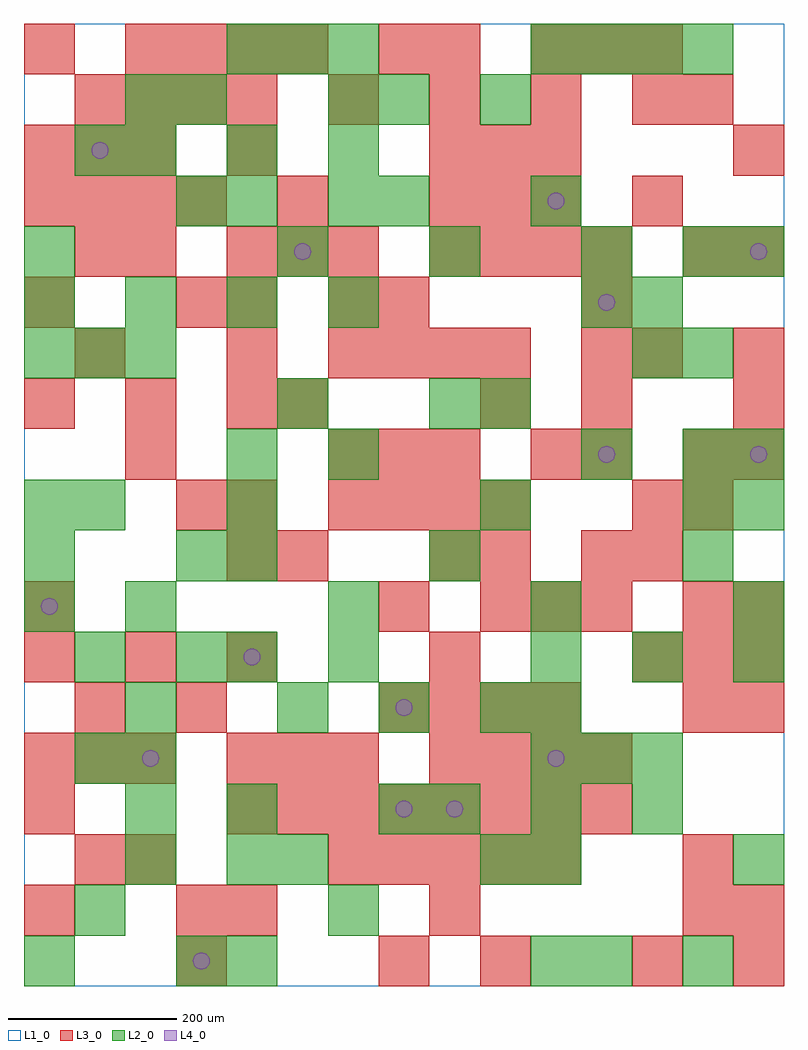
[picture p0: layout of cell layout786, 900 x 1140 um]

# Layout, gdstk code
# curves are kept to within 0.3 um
import gdstk
lib = gdstk.Library(unit=1e-6, precision=1e-09)
def R(c, l, rs):  # rectangles x0, y0, x1, y1
    for r in rs: c.add(gdstk.rectangle(r[:2], r[2:], *l))
def A(c, l, x, y, w, h, nx, ny, dx, dy):  # array of equal rectangles
    R(c, l, [(x+i*dx, y+j*dy, x+i*dx+w, y+j*dy+h) for i in range(nx) for j in range(ny)])
def P(c, l, *ps):  # polygons
    for p in ps: c.add(gdstk.Polygon(p, *l))
L1_0 = (1, 0)
L2_0 = (2, 0)
L3_0 = (3, 0)
L4_0 = (4, 0)

layout786 = lib.new_cell('layout786')
R(layout786, L1_0, [(0,0,900,1140)])
A(layout786, L2_0, 120, 120, 60, 60, 1, 4, 0, 60)
A(layout786, L2_0, 480, 180, 60, 60, 3, 1, 120, 0)
A(layout786, L2_0, 600, 240, 60, 60, 3, 1, 60, 0)
A(layout786, L2_0, 300, 300, 60, 60, 3, 1, 120, 0)
A(layout786, L2_0, 600, 360, 60, 60, 3, 1, 120, 0)
A(layout786, L2_0, 0, 420, 60, 60, 1, 3, 0, 60)
A(layout786, L2_0, 120, 420, 60, 60, 4, 1, 240, 0)
A(layout786, L2_0, 240, 480, 60, 60, 1, 3, 0, 60)
A(layout786, L2_0, 780, 480, 60, 60, 1, 3, 0, 60)
A(layout786, L2_0, 0, 720, 60, 60, 3, 1, 60, 0)
A(layout786, L2_0, 0, 780, 60, 60, 4, 1, 120, 0)
A(layout786, L2_0, 300, 840, 60, 60, 3, 1, 180, 0)
A(layout786, L2_0, 120, 960, 60, 60, 3, 1, 120, 0)
A(layout786, L2_0, 240, 1080, 60, 60, 3, 1, 60, 0)
A(layout786, L2_0, 600, 1080, 60, 60, 4, 1, 60, 0)
R(layout786, L2_0, [(0,0,60,60), (180,0,240,60), (240,0,300,60), (600,0,660,60), (660,0,720,60), (780,0,840,60), (60,60,120,120), (360,60,420,120), (240,120,300,180), (300,120,360,180), (540,120,600,180), (600,120,660,180), (840,120,900,180), (240,180,300,240), (420,180,480,240), (60,240,120,300), (600,300,660,360), (60,360,120,420), (180,360,240,420), (240,360,300,420), (360,360,420,420), (180,480,240,540), (480,480,540,540), (60,540,120,600), (540,540,600,600), (840,540,900,600), (360,600,420,660), (660,600,720,660), (840,600,900,660), (300,660,360,720), (480,660,540,720), (540,660,600,720), (720,720,780,780), (780,720,840,780), (660,780,720,840), (720,780,780,840), (0,840,60,900), (780,840,840,900), (840,840,900,900), (180,900,240,960), (240,900,300,960), (360,900,420,960), (420,900,480,960), (600,900,660,960), (60,960,120,1020), (120,1020,180,1080), (180,1020,240,1080), (360,1020,420,1080), (420,1020,480,1080), (540,1020,600,1080)])
A(layout786, L3_0, 180, 60, 60, 60, 1, 4, 0, 240)
A(layout786, L3_0, 360, 120, 60, 60, 5, 1, 60, 0)
A(layout786, L3_0, 240, 180, 60, 60, 8, 1, 60, 0)
A(layout786, L3_0, 0, 240, 60, 60, 3, 2, 60, 720)
A(layout786, L3_0, 240, 240, 60, 60, 3, 2, 60, 600)
A(layout786, L3_0, 480, 240, 60, 60, 4, 2, 60, 600)
A(layout786, L3_0, 420, 300, 60, 60, 4, 1, 60, 0)
A(layout786, L3_0, 780, 300, 60, 60, 1, 3, 0, 120)
A(layout786, L3_0, 0, 360, 60, 60, 3, 2, 120, 300)
A(layout786, L3_0, 720, 360, 60, 60, 3, 1, 60, 0)
A(layout786, L3_0, 540, 420, 60, 60, 3, 1, 60, 0)
A(layout786, L3_0, 360, 540, 60, 60, 4, 2, 60, 180)
A(layout786, L3_0, 720, 540, 60, 60, 1, 3, 0, 180)
A(layout786, L3_0, 360, 600, 60, 60, 3, 1, 60, 0)
A(layout786, L3_0, 660, 600, 60, 60, 1, 4, 0, 60)
A(layout786, L3_0, 840, 600, 60, 60, 1, 3, 0, 60)
A(layout786, L3_0, 0, 900, 60, 60, 4, 1, 60, 0)
A(layout786, L3_0, 480, 900, 60, 60, 3, 2, 60, 60)
A(layout786, L3_0, 60, 1020, 60, 60, 4, 1, 60, 0)
A(layout786, L3_0, 360, 1020, 60, 60, 4, 1, 120, 0)
A(layout786, L3_0, 120, 1080, 60, 60, 4, 1, 60, 0)
A(layout786, L3_0, 600, 1080, 60, 60, 3, 1, 60, 0)
R(layout786, L3_0, [(180,0,240,60), (420,0,480,60), (540,0,600,60), (720,0,780,60), (840,0,900,60), (0,60,60,120), (240,60,300,120), (480,60,540,120), (780,60,840,120), (840,60,900,120), (60,120,120,180), (120,120,180,180), (780,120,840,180), (0,180,60,240), (60,300,120,360), (840,300,900,360), (480,360,540,420), (0,420,60,480), (420,420,480,480), (840,420,900,480), (240,480,300,540), (300,480,360,540), (480,480,540,540), (540,480,600,540), (660,480,720,540), (720,480,780,540), (240,540,300,600), (120,600,180,660), (600,600,660,660), (780,600,840,660), (300,660,360,720), (540,660,600,720), (60,720,120,780), (240,720,300,780), (0,780,60,840), (240,780,300,840), (360,780,420,840), (420,780,480,840), (60,840,120,900), (120,840,180,900), (780,840,840,900), (840,840,900,900), (300,900,360,960), (240,960,300,1020), (840,960,900,1020), (780,1020,840,1080), (0,1080,60,1140), (420,1080,480,1140), (480,1080,540,1140)])
P(layout786, L4_0, [(40,450),(39.239,453.827),(37.071,457.071),(33.827,459.239),(30,460),(26.173,459.239),(22.929,457.071),(20.761,453.827),(20,450),(20.761,446.173),(22.929,442.929),(26.173,440.761),(30,440),(33.827,440.761),(37.071,442.929),(39.239,446.173)],
  [(100,990),(99.239,993.827),(97.071,997.071),(93.827,999.239),(90,1000),(86.173,999.239),(82.929,997.071),(80.761,993.827),(80,990),(80.761,986.173),(82.929,982.929),(86.173,980.761),(90,980),(93.827,980.761),(97.071,982.929),(99.239,986.173)],
  [(160,270),(159.239,273.827),(157.071,277.071),(153.827,279.239),(150,280),(146.173,279.239),(142.929,277.071),(140.761,273.827),(140,270),(140.761,266.173),(142.929,262.929),(146.173,260.761),(150,260),(153.827,260.761),(157.071,262.929),(159.239,266.173)],
  [(220,30),(219.239,33.827),(217.071,37.071),(213.827,39.239),(210,40),(206.173,39.239),(202.929,37.071),(200.761,33.827),(200,30),(200.761,26.173),(202.929,22.929),(206.173,20.761),(210,20),(213.827,20.761),(217.071,22.929),(219.239,26.173)],
  [(280,390),(279.239,393.827),(277.071,397.071),(273.827,399.239),(270,400),(266.173,399.239),(262.929,397.071),(260.761,393.827),(260,390),(260.761,386.173),(262.929,382.929),(266.173,380.761),(270,380),(273.827,380.761),(277.071,382.929),(279.239,386.173)],
  [(340,870),(339.239,873.827),(337.071,877.071),(333.827,879.239),(330,880),(326.173,879.239),(322.929,877.071),(320.761,873.827),(320,870),(320.761,866.173),(322.929,862.929),(326.173,860.761),(330,860),(333.827,860.761),(337.071,862.929),(339.239,866.173)],
  [(460,210),(459.239,213.827),(457.071,217.071),(453.827,219.239),(450,220),(446.173,219.239),(442.929,217.071),(440.761,213.827),(440,210),(440.761,206.173),(442.929,202.929),(446.173,200.761),(450,200),(453.827,200.761),(457.071,202.929),(459.239,206.173)],
  [(460,330),(459.239,333.827),(457.071,337.071),(453.827,339.239),(450,340),(446.173,339.239),(442.929,337.071),(440.761,333.827),(440,330),(440.761,326.173),(442.929,322.929),(446.173,320.761),(450,320),(453.827,320.761),(457.071,322.929),(459.239,326.173)],
  [(520,210),(519.239,213.827),(517.071,217.071),(513.827,219.239),(510,220),(506.173,219.239),(502.929,217.071),(500.761,213.827),(500,210),(500.761,206.173),(502.929,202.929),(506.173,200.761),(510,200),(513.827,200.761),(517.071,202.929),(519.239,206.173)],
  [(640,270),(639.239,273.827),(637.071,277.071),(633.827,279.239),(630,280),(626.173,279.239),(622.929,277.071),(620.761,273.827),(620,270),(620.761,266.173),(622.929,262.929),(626.173,260.761),(630,260),(633.827,260.761),(637.071,262.929),(639.239,266.173)],
  [(640,930),(639.239,933.827),(637.071,937.071),(633.827,939.239),(630,940),(626.173,939.239),(622.929,937.071),(620.761,933.827),(620,930),(620.761,926.173),(622.929,922.929),(626.173,920.761),(630,920),(633.827,920.761),(637.071,922.929),(639.239,926.173)],
  [(700,630),(699.239,633.827),(697.071,637.071),(693.827,639.239),(690,640),(686.173,639.239),(682.929,637.071),(680.761,633.827),(680,630),(680.761,626.173),(682.929,622.929),(686.173,620.761),(690,620),(693.827,620.761),(697.071,622.929),(699.239,626.173)],
  [(700,810),(699.239,813.827),(697.071,817.071),(693.827,819.239),(690,820),(686.173,819.239),(682.929,817.071),(680.761,813.827),(680,810),(680.761,806.173),(682.929,802.929),(686.173,800.761),(690,800),(693.827,800.761),(697.071,802.929),(699.239,806.173)],
  [(880,630),(879.239,633.827),(877.071,637.071),(873.827,639.239),(870,640),(866.173,639.239),(862.929,637.071),(860.761,633.827),(860,630),(860.761,626.173),(862.929,622.929),(866.173,620.761),(870,620),(873.827,620.761),(877.071,622.929),(879.239,626.173)],
  [(880,870),(879.239,873.827),(877.071,877.071),(873.827,879.239),(870,880),(866.173,879.239),(862.929,877.071),(860.761,873.827),(860,870),(860.761,866.173),(862.929,862.929),(866.173,860.761),(870,860),(873.827,860.761),(877.071,862.929),(879.239,866.173)])

lib.write_gds('layout786.gds')
